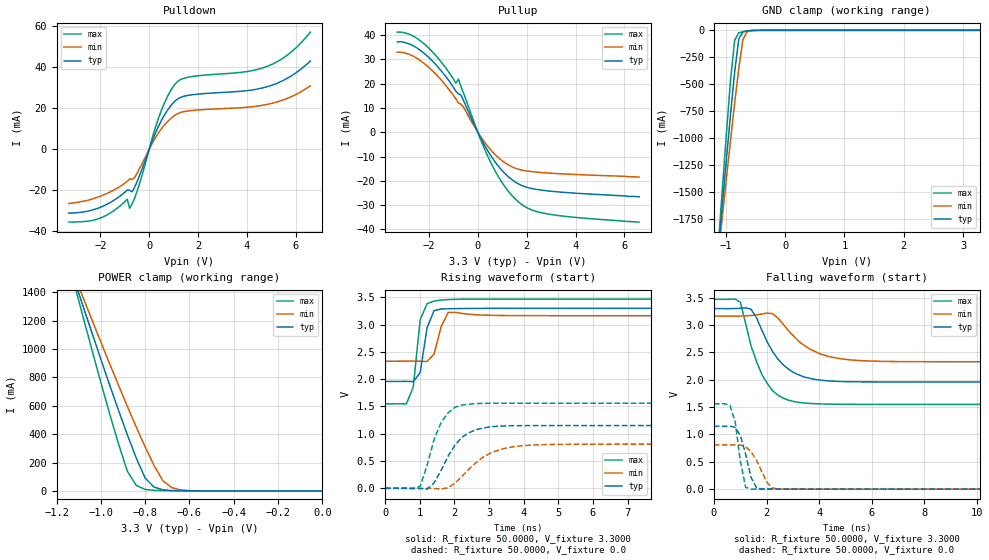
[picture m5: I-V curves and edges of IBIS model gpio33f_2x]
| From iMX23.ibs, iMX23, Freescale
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|   Model gpio33f_2x
[Model]  gpio33f_2x
Model_type I/O
Polarity   Non-Inverting
Enable   Active-Low
Vinl =   0.8000V
Vinh =   2.0000V
Vmeas =  1.6500V
Cref =   30.0000pF
Rref =   50.0000
Vref =   1.6500V
C_comp   3.0000pF   2.0000pF   4.0000pF
[Temperature Range]   50.0000   100.0000   0.0
[Voltage Range]   3.3000V   3.0000V   3.6000V
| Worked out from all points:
|   slope of the pulldown table from 0 to 0.495 V, typ, clamps not added: 35.5 ohm
|   slope of the pullup table from 0 to 0.495 V, typ, clamps not added: 54.5 ohm
|   GND clamp passes 1 mA (typ) near -0.53 V on its own axis
|   POWER clamp passes 1 mA (typ) near -0.63 V on its own axis
|   rising waveform, R_fixture 50.0000, V_fixture 3.3000: 20-80 % time 230ps typ, 217ps min, 186ps max; typ from 1.96 V to 3.3 V
|   rising waveform, R_fixture 50.0000, V_fixture 0.0: 20-80 % time 668ps typ, 918ps min, 506ps max; typ from 0 V to 1.15 V
|   falling waveform, R_fixture 50.0000, V_fixture 3.3000: 20-80 % time 1.04ns typ, 1.27ns min, 851ps max; typ from 3.3 V to 1.96 V
|   falling waveform, R_fixture 50.0000, V_fixture 0.0: 20-80 % time 361ps typ, 517ps min, 291ps max; typ from 1.15 V to 0 V
[Pulldown]
|Voltage   I(typ)   I(min)   I(max)
-3.3V     -31.1mA    -26.4mA    -35.4mA
-2V       -28.25mA   -22.85mA   -33.48mA
-900mV    -19.83mA   -15.56mA   -24.3mA
-800mV    -19.92mA   -14.36mA   -28.69mA
-700mV    -20.73mA   -14.69mA   -26.59mA
-600mV    -18.55mA   -13.84mA   -23.9mA
500mV     14.06mA    9.982mA    18.97mA
900mV     21.47mA    15.18mA    29.02mA
1.2V      24.79mA    17.54mA    33.35mA
4.8V      30.39mA    21.79mA    40.26mA
5.7V      34.9mA     25.03mA    46.28mA
6.6V      43mA       30.9mA     57.1mA
[Pullup]
|Voltage   I(typ)   I(min)   I(max)
-3.3V     37.1mA     32.9mA     41.2mA
-2.8V     36.29mA    31.99mA    40.3mA
-2.2V     32.47mA    28.29mA    36.36mA
-1.5V     25.26mA    21.51mA    28.9mA
-900mV    16.86mA    13.77mA    20.16mA
-800mV    15.79mA    12.05mA    21.82mA
-700mV    15.41mA    11.62mA    19.05mA
500mV     -9.157mA   -6.931mA   -11.86mA
1.1V      -16.9mA    -12.49mA   -22.28mA
1.7V      -21.44mA   -15.33mA   -28.95mA
2.9V      -24.16mA   -16.79mA   -33.68mA
6.6V      -26.6mA    -18.4mA    -37mA
[GND_clamp]
|Voltage   I(typ)   I(min)   I(max)
-3.3V     -16.05A    -13.81A    -19.4A
-1.13V    -2.072A    -2.112A    -2.035A
-1.06V    -1.636A    -1.745A    -1.497A
-990mV    -1.206A    -1.382A    -971.1mA
-920mV    -786.7mA   -1.025A    -470.7mA
-850mV    -390.5mA   -679.5mA   -92.21mA
-780mV    -81.38mA   -354.3mA   -23.04mA
-710mV    -14.58mA   -85.27mA   -12.47mA
-640mV    -4.818mA   -12.73mA   -6.689mA
-570mV    -1.703mA   -2.139mA   -2.771mA
3.28V     -344.8nA   4.18uA     -6.865uA
[POWER_clamp]
|Voltage   I(typ)   I(min)   I(max)
-3.28V    12.03A     10.28A     14.68A
-1.12V    1.489A     1.518A     1.459A
-1.08V    1.3A       1.361A     1.225A
-920mV    566.8mA    743.5mA    330.2mA
-880mV    394mA      594.3mA    137.8mA
-840mV    230.9mA    449.2mA    38.56mA
-800mV    90.47mA    310.1mA    10.5mA
-760mV    26.97mA    179.7mA    3.981mA
-720mV    7.883mA    71.6mA     2.263mA
-680mV    2.674mA    23.37mA    1.532mA
-560mV    297.8uA    770.1uA    384.8uA
0V        566.7pA    1.536nA    254.7pA
[Ramp]
| variable   typ   min   max
dV/dt_r  0.6901/0.6638n   0.4850/0.9078n   0.9359/0.4956n
dV/dt_f  0.8046/1.0322n   0.5757/1.3217n   1.0664/0.8317n
R_load = 50.0000
[Rising Waveform]
R_fixture= 50.0000
V_fixture= 3.3000
|time   V(typ)   V(min)   V(max)
0s        1.959V     2.329V     1.549V
610ps     1.961V     2.331V     1.547V
810ps     1.955V     2.331V     1.852V
1.01ns    2.119V     2.329V     3.09V
1.21ns    2.945V     2.325V     3.384V
1.41ns    3.256V     2.459V     3.433V
1.62ns    3.288V     2.969V     3.452V
1.82ns    3.292V     3.225V     3.461V
3.84ns    3.3V       3.166V     3.47V
20ns      3.3V       3.164V     3.47V
[Rising Waveform]
R_fixture= 50.0000
V_fixture= 0.0
|time   V(typ)   V(min)   V(max)
0s        0V         0V         0V
1.01ns    -5.486mV   99.82uV    36.87mV
1.21ns    -15.7mV    -131uV     420.3mV
1.41ns    98.6mV     -4.492mV   891.5mV
1.62ns    333.2mV    -12.22mV   1.215V
2.02ns    797.4mV    97.17mV    1.488V
2.42ns    1.02V      354.3mV    1.543V
3.03ns    1.128V     643.5mV    1.559V
4.24ns    1.149V     793.4mV    1.56V
20ns      1.15V      808.3mV    1.56V
[Falling Waveform]
R_fixture= 50.0000
V_fixture= 3.3000
|time   V(typ)   V(min)   V(max)
0s        3.3V       3.164V     3.47V
1.01ns    3.308V     3.165V     3.414V
1.41ns    3.29V      3.174V     2.623V
1.82ns    2.909V     3.202V     2.099V
2.22ns    2.526V     3.208V     1.805V
2.63ns    2.275V     3.018V     1.666V
3.03ns    2.131V     2.799V     1.602V
4.04ns    1.994V     2.472V     1.558V
5.66ns    1.961V     2.348V     1.55V
20ns      1.959V     2.329V     1.549V
[Falling Waveform]
R_fixture= 50.0000
V_fixture= 0.0
|time   V(typ)   V(min)   V(max)
0s        1.15V      808.3mV    1.56V
610ps     1.153V     808.9mV    1.534V
810ps     1.128V     810.2mV    1.234V
1.01ns    979.3mV    807.9mV    502.4mV
1.21ns    634.2mV    772.9mV    32.43mV
1.41ns    219.5mV    687mV      2.661mV
1.62ns    23.28mV    529.9mV    2.176mV
2.02ns    2.352mV    123.4mV    960.4uV
2.42ns    1.151mV    4.65mV     694uV
20ns      2.859uV    3.457uV    2.015uV
